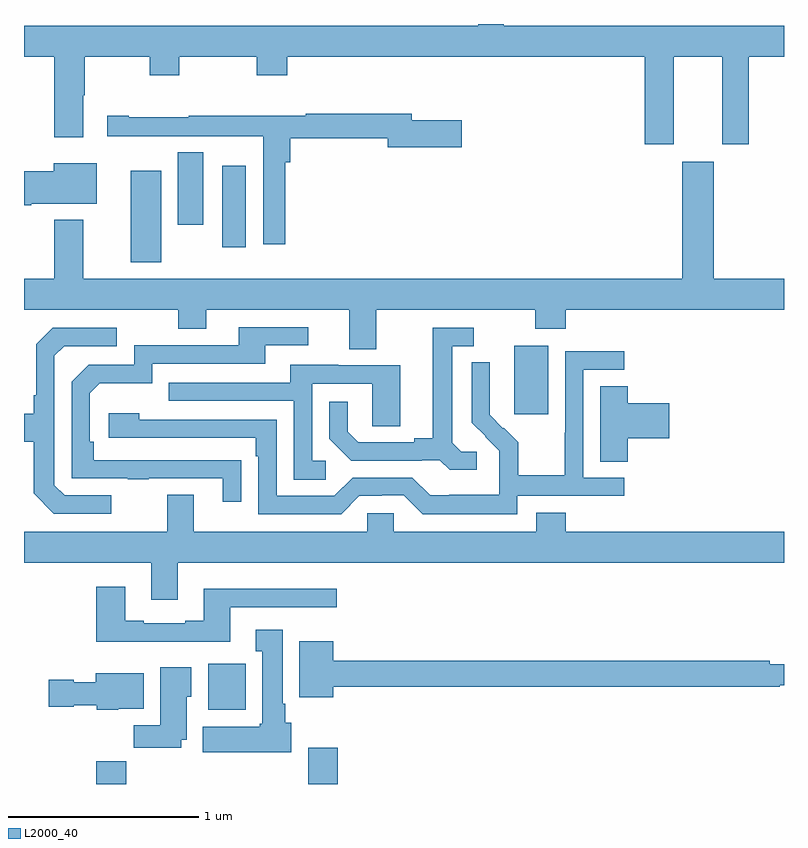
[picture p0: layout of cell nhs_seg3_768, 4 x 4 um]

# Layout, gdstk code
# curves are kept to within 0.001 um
import gdstk
lib = gdstk.Library(unit=1e-6, precision=1e-09)
def R(c, l, rs):  # rectangles x0, y0, x1, y1
    for r in rs: c.add(gdstk.rectangle(r[:2], r[2:], *l))
def P(c, l, *ps):  # polygons
    for p in ps: c.add(gdstk.Polygon(p, *l))
L2000_40 = (2000, 40)

nhs_seg3_768 = lib.new_cell('nhs_seg3_768')
R(nhs_seg3_768, L2000_40, [(149.381,718.4,149.537,718.52), (150.497,718.4,150.65,718.591), (149.969,718.79,150.166,719.032), (151.58,720.345,151.759,720.706), (149.561,721.145,149.722,721.627), (150.044,721.224,150.166,721.654), (149.81,721.344,149.944,721.724)])
P(nhs_seg3_768, L2000_40, [(149,722.228),(149.159,722.228),(149.159,721.803),(149.311,721.803),(149.311,722.024),(149.319,722.024),(149.319,722.228),(149.662,722.228),(149.662,722.129),(149.817,722.129),(149.817,722.228),(150.226,722.228),(150.226,722.129),(150.386,722.129),(150.386,722.228),(152.267,722.228),(152.267,721.767),(152.419,721.767),(152.419,722.228),(152.675,722.228),(152.675,721.767),(152.815,721.767),(152.815,722.228),(153,722.228),(153,722.392),(151.526,722.392),(151.526,722.4),(151.39,722.4),(151.39,722.392),(149,722.392)],
  [(150.374,721.673),(150.401,721.673),(150.401,721.798),(150.914,721.798),(150.914,721.751),(151.303,721.751),(151.303,721.893),(151.042,721.893),(151.042,721.927),(150.484,721.927),(150.484,721.916),(150.282,721.916),(150.282,721.918),(149.867,721.918),(149.867,721.908),(149.551,721.908),(149.551,721.918),(149.439,721.918),(149.439,721.808),(149.714,721.808),(149.714,721.809),(150.048,721.809),(150.048,721.808),(150.258,721.808),(150.258,721.242),(150.374,721.242)],
  [(150.853,720.896),(151.69,720.896),(151.69,720.797),(151.85,720.797),(151.85,720.896),(153,720.896),(153,721.06),(152.629,721.06),(152.629,721.675),(152.465,721.675),(152.465,721.06),(149.311,721.06),(149.311,721.369),(149.159,721.369),(149.159,721.06),(149,721.06),(149,720.896),(149.812,720.896),(149.812,720.797),(149.959,720.797),(149.959,720.896),(150.713,720.896),(150.713,720.688),(150.853,720.688)],
  [(149.038,721.454),(149.383,721.454),(149.383,721.666),(149.156,721.666),(149.156,721.625),(149,721.625),(149,721.447),(149.038,721.447)],
  [(150.143,720.104),(149.366,720.105),(149.366,720.202),(149.346,720.202),(149.346,720.456),(149.399,720.509),(149.676,720.509),(149.676,720.612),(150.271,720.612),(150.271,720.708),(150.496,720.708),(150.496,720.804),(150.131,720.804),(150.131,720.708),(149.58,720.708),(149.58,720.606),(149.34,720.606),(149.25,720.516),(149.25,720.009),(149.545,720.009),(149.545,720.004),(149.657,720.004),(149.657,720.009),(150.047,720.009),(150.047,719.886),(150.143,719.886)],
  [(149.458,719.919),(149.214,719.919),(149.16,719.973),(149.16,720.654),(149.211,720.705),(149.488,720.705),(149.488,720.801),(149.151,720.801),(149.064,720.714),(149.064,720.445),(149.052,720.445),(149.052,720.349),(149,720.349),(149,720.202),(149.052,720.202),(149.052,719.929),(149.157,719.823),(149.458,719.823)],
  [(151.384,720.15),(151.302,720.15),(151.255,720.197),(151.255,720.705),(151.366,720.705),(151.366,720.801),(151.151,720.801),(151.151,720.221),(151.055,720.221),(151.055,720.198),(150.76,720.198),(150.703,720.255),(150.703,720.412),(150.606,720.412),(150.606,720.218),(150.722,720.102),(151.094,720.102),(151.094,720.105),(151.188,720.105),(151.24,720.053),(151.384,720.053)],
  [(151.596,719.916),(152.158,719.916),(152.158,720.012),(151.944,720.012),(151.944,720.579),(152.158,720.579),(152.158,720.678),(151.848,720.678),(151.848,720.248),(151.846,720.248),(151.846,720.025),(151.601,720.025),(151.601,720.199),(151.524,720.276),(151.521,720.273),(151.451,720.344),(151.452,720.62),(151.356,720.62),(151.356,720.302),(151.502,720.154),(151.502,720.057),(151.5,720.057),(151.5,719.923),(151.237,719.923),(151.237,719.919),(151.137,719.919),(151.044,720.012),(150.729,720.012),(150.633,719.916),(150.33,719.916),(150.33,720.318),(149.606,720.318),(149.606,720.352),(149.445,720.352),(149.445,720.222),(150.221,720.222),(150.221,720.125),(150.234,720.125),(150.234,719.82),(150.669,719.82),(150.765,719.916),(150.884,719.916),(150.884,719.919),(150.999,719.919),(151.099,719.819),(151.596,719.819)],
  [(150.589,720.102),(150.516,720.102),(150.516,720.507),(150.834,720.507),(150.834,720.283),(150.979,720.283),(150.979,720.603),(150.655,720.603),(150.655,720.607),(150.401,720.607),(150.401,720.513),(149.761,720.513),(149.761,720.417),(150.42,720.417),(150.42,720.001),(150.589,720.001)],
  [(152.177,720.221),(152.395,720.221),(152.395,720.404),(152.177,720.404),(152.177,720.494),(152.033,720.494),(152.033,720.097),(152.177,720.097)],
  [(149.809,719.564),(153,719.564),(153,719.728),(151.85,719.728),(151.85,719.827),(151.697,719.827),(151.697,719.728),(150.945,719.728),(150.945,719.826),(150.807,719.826),(150.807,719.728),(149.893,719.728),(149.893,719.923),(149.753,719.923),(149.753,719.728),(149,719.728),(149,719.564),(149.669,719.564),(149.669,719.37),(149.809,719.37)],
  [(150.085,719.331),(150.646,719.331),(150.646,719.428),(149.945,719.428),(149.945,719.26),(149.849,719.26),(149.849,719.247),(149.629,719.247),(149.629,719.26),(149.533,719.26),(149.533,719.437),(149.381,719.437),(149.381,719.15),(150.085,719.15)],
  [(150.406,718.722),(150.376,718.722),(150.376,718.822),(150.361,718.822),(150.361,719.212),(150.221,719.212),(150.221,719.099),(150.254,719.099),(150.254,718.716),(150.241,718.716),(150.241,718.702),(149.942,718.702),(149.942,718.568),(150.406,718.568)],
  [(150.628,718.912),(152.978,718.912),(152.978,718.92),(153,718.92),(153,719.029),(152.924,719.029),(152.924,719.048),(150.628,719.048),(150.628,719.152),(150.449,719.152),(150.449,718.856),(150.628,718.856)],
  [(149.827,718.634),(149.857,718.634),(149.857,718.86),(149.881,718.86),(149.881,719.014),(149.717,719.014),(149.717,718.708),(149.578,718.708),(149.578,718.59),(149.827,718.59)],
  [(149.496,718.796),(149.629,718.796),(149.629,718.984),(149.378,718.984),(149.378,718.936),(149.262,718.936),(149.262,718.949),(149.13,718.949),(149.13,718.807),(149.262,718.807),(149.262,718.814),(149.382,718.814),(149.382,718.79),(149.496,718.79)])

lib.write_gds('nhs_seg3_768.gds')
